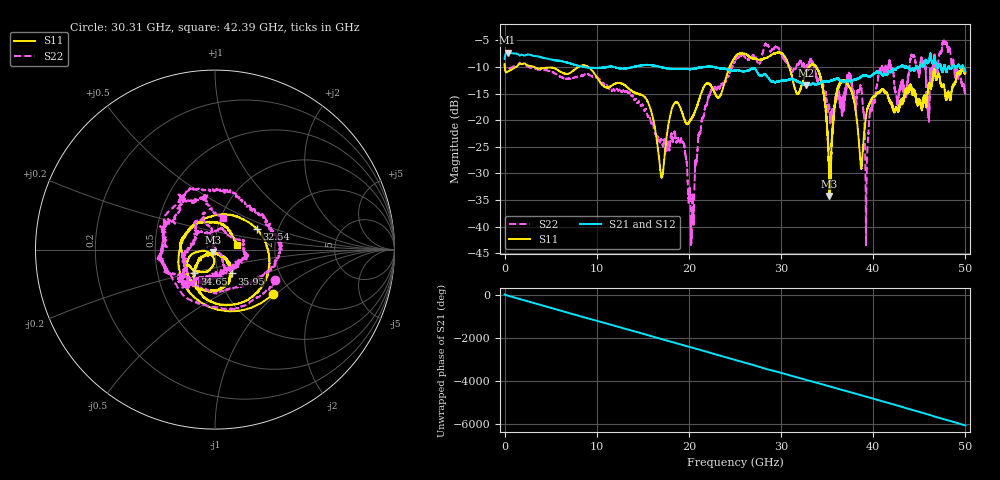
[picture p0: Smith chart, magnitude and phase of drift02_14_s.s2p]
!Created with skrf (http://scikit-rf.org).
# Hz S RI R 50.0
!freq ReS11 ImS11 ReS21 ImS21 ReS12 ImS12 ReS22 ImS22
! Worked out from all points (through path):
!   10001 points, 300 kHz to 50 GHz, reference 50 ohm
!   highest |S21| = -7.32 dB at 320.3 MHz (marker M1); lowest = -13.5 dB at 32.72 GHz (marker M2)
!   group delay of S21, straight-line fit = 335 ps
!   lowest |S11| = -34.2 dB at 35.25 GHz (marker M3), VSWR 1.04, Z = 48.7 - j1.41 ohm
!   |S11| at or under -10 dB: 3.236 GHz to 8.007 GHz (4.771 GHz wide, 84.9 % of centre); 9.102 GHz to 24.41 GHz (15.31 GHz wide, 91.4 % of centre); 33.83 GHz to end of sweep (the widest 3 of 8)
!   |S22| runs from -43.7 to -5.0 dB; largest |S21 - S12| = 0.014
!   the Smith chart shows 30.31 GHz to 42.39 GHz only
!   S11 on the Smith chart (normalised r, x): 30.31 GHz: 1.61, -0.95; 32.54 GHz: 1.54, +0.39; 34.65 GHz: 0.77, -0.21; 35.95 GHz: 1.16, -0.32; 42.39 GHz: 1.28, +0.07
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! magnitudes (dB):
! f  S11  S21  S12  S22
! 300 kHz  -9.5  -8.5  -8.4  -9.4
! 320.3 MHz  -10.9  -7.3  -7.3  -10.6
! 8.335 GHz  -9.7  -9.9  -9.9  -11.6
! 16.67 GHz  -25.8  -9.9  -9.9  -23.2
! 19.32 GHz  -18.8  -10.4  -10.4  -24.3
! 20.35 GHz  -19.5  -10.4  -10.3  -36.3
! 21.94 GHz  -13.1  -10.0  -10.0  -16.9
! 25 GHz  -8.2  -10.7  -10.6  -8.9
! 30.31 GHz  -7.8  -12.5  -12.6  -8.5
! 32.54 GHz  -11.7  -13.2  -13.4  -10.0
! 32.72 GHz  -11.0  -13.5  -13.5  -10.3
! 33.34 GHz  -9.6  -13.2  -13.2  -9.0
! 34.65 GHz  -15.1  -12.8  -12.7  -14.3
! 35.25 GHz  -34.2  -12.6  -12.6  -17.9
! 35.95 GHz  -15.8  -12.2  -12.2  -15.6
! 37.52 GHz  -14.1  -12.7  -12.7  -12.0
! 38.57 GHz  -26.7  -12.0  -12.0  -13.8
! 39.3 GHz  -18.3  -11.6  -11.6  -28.9
! 41.67 GHz  -15.9  -11.0  -11.1  -9.5
! 42.39 GHz  -18.0  -10.5  -10.5  -14.8
! 47.76 GHz  -14.3  -9.8  -9.7  -5.3
! 50 GHz  -11.1  -10.8  -10.9  -14.9
